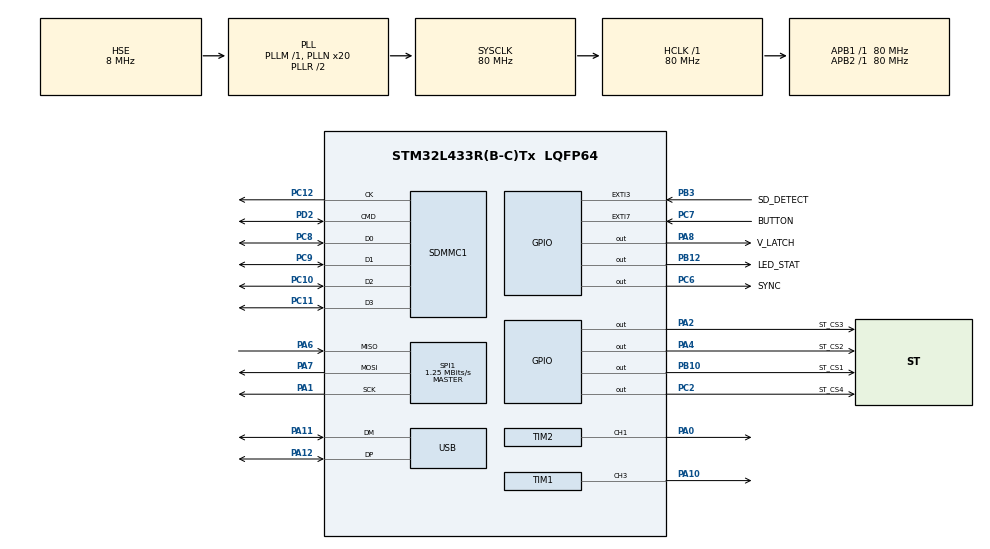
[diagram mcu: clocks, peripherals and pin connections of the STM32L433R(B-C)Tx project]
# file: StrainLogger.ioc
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ADC1.ClockPrescaler=ADC_CLOCK_ASYNC_DIV16
ADC1.ContinuousConvMode=DISABLE
ADC1.DMAContinuousRequests=DISABLE
ADC1.DataAlign=ADC_DATAALIGN_RIGHT
ADC1.DiscontinuousConvMode=DISABLE
ADC1.EOCSelection=ADC_EOC_SINGLE_CONV
ADC1.EnableInjectedConversion=DISABLE
ADC1.EnableRegularConversion=DISABLE
ADC1.LowPowerAutoWait=DISABLE
ADC1.Overrun=ADC_OVR_DATA_PRESERVED
ADC1.Resolution=ADC_RESOLUTION_12B
ADC1.ScanConvMode=ADC_SCAN_DISABLE
ADC1.master=1
FATFS._FS_NORTC=1
FATFS._MAX_SS=512
FATFS._NORTC_MDAY=1
FATFS._NORTC_MON=1
FATFS._NORTC_YEAR=2018
FATFS._USE_EXPAND=1
FATFS._USE_LFN=1
FATFS._USE_STRFUNC=1
Mcu.Family=STM32L4
Mcu.Name=STM32L433R(B-C)Tx
Mcu.Package=LQFP64
NVIC.EXTI3_IRQn=true\:9\:0\:true\:false\:true\:true
NVIC.EXTI9_5_IRQn=true\:9\:0\:true\:false\:true\:true
NVIC.PriorityGroup=NVIC_PRIORITYGROUP_4
NVIC.TIM1_CC_IRQn=true\:1\:0\:true\:false\:true\:true
NVIC.TIM6_DAC_IRQn=true\:4\:0\:true\:false\:true\:true
NVIC.USB_IRQn=true\:0\:0\:false\:false\:true\:false
PA0.Signal=S_TIM2_CH1
PA1.Mode=Full_Duplex_Master
PA1.Signal=SPI1_SCK
PA10.Signal=S_TIM1_CH3
PA11.Mode=Device
PA11.Signal=USB_DM
PA12.Mode=Device
PA12.Signal=USB_DP
PA13\ (JTMS-SWDIO).Mode=Serial_Wire
PA13\ (JTMS-SWDIO).Signal=SYS_JTMS-SWDIO
PA14\ (JTCK-SWCLK).Mode=Serial_Wire
PA14\ (JTCK-SWCLK).Signal=SYS_JTCK-SWCLK
PA2.GPIO_Label=ST_CS3
PA2.GPIO_Speed=GPIO_SPEED_FREQ_VERY_HIGH
PA2.PinState=GPIO_PIN_SET
PA2.Signal=GPIO_Output
PA4.GPIO_Label=ST_CS2
PA4.GPIO_Speed=GPIO_SPEED_FREQ_VERY_HIGH
PA4.PinState=GPIO_PIN_SET
PA4.Signal=GPIO_Output
PA6.Mode=Full_Duplex_Master
PA6.Signal=SPI1_MISO
PA7.Mode=Full_Duplex_Master
PA7.Signal=SPI1_MOSI
PA8.GPIO_Label=V_LATCH
PA8.PinState=GPIO_PIN_SET
PA8.Signal=GPIO_Output
PB10.GPIO_Label=ST_CS1
PB10.GPIO_Speed=GPIO_SPEED_FREQ_VERY_HIGH
PB10.PinState=GPIO_PIN_SET
PB10.Signal=GPIO_Output
PB12.GPIO_Label=LED_STAT
PB12.Signal=GPIO_Output
PB3\ (JTDO-TRACESWO).GPIO_Label=SD_DETECT
PB3\ (JTDO-TRACESWO).GPIO_ModeDefaultEXTI=GPIO_MODE_IT_RISING
PB3\ (JTDO-TRACESWO).GPIO_PuPd=GPIO_PULLUP
PB3\ (JTDO-TRACESWO).Signal=GPXTI3
PC10.GPIO_PuPd=GPIO_PULLUP
PC10.Mode=SD_4_bits_Wide_bus
PC10.Signal=SDMMC1_D2
PC11.GPIO_PuPd=GPIO_PULLUP
PC11.Mode=SD_4_bits_Wide_bus
PC11.Signal=SDMMC1_D3
PC12.GPIO_PuPd=GPIO_PULLUP
PC12.Mode=SD_4_bits_Wide_bus
PC12.Signal=SDMMC1_CK
PC14-OSC32_IN\ (PC14).Mode=LSE-External-Oscillator
PC14-OSC32_IN\ (PC14).Signal=RCC_OSC32_IN
PC15-OSC32_OUT\ (PC15).Mode=LSE-External-Oscillator
PC15-OSC32_OUT\ (PC15).Signal=RCC_OSC32_OUT
PC2.GPIO_Label=ST_CS4
PC2.GPIO_Speed=GPIO_SPEED_FREQ_VERY_HIGH
PC2.PinState=GPIO_PIN_SET
PC2.Signal=GPIO_Output
PC6.GPIO_Label=SYNC
PC6.GPIO_Speed=GPIO_SPEED_FREQ_VERY_HIGH
PC6.Signal=GPIO_Output
PC7.GPIO_Label=BUTTON
PC7.Signal=GPXTI7
PC8.GPIO_PuPd=GPIO_PULLUP
PC8.Mode=SD_4_bits_Wide_bus
PC8.Signal=SDMMC1_D0
PC9.GPIO_PuPd=GPIO_PULLUP
PC9.Mode=SD_4_bits_Wide_bus
PC9.Signal=SDMMC1_D1
PD2.GPIO_PuPd=GPIO_PULLUP
PD2.Mode=SD_4_bits_Wide_bus
PD2.Signal=SDMMC1_CMD
PH0-OSC_IN\ (PH0).Mode=HSE-External-Oscillator
PH0-OSC_IN\ (PH0).Signal=RCC_OSC_IN
PH1-OSC_OUT\ (PH1).Mode=HSE-External-Oscillator
PH1-OSC_OUT\ (PH1).Signal=RCC_OSC_OUT
ProjectManager.HeapSize=0x4000
ProjectManager.StackSize=0x1000
ProjectManager.TargetToolchain=Makefile
RCC.ADCFreq_Value=48000000
RCC.AHBFreq_Value=80000000
RCC.APB1Freq_Value=80000000
RCC.APB1TimFreq_Value=80000000
RCC.APB2Freq_Value=80000000
RCC.APB2TimFreq_Value=80000000
RCC.CortexFreq_Value=80000000
RCC.HCLKFreq_Value=80000000
RCC.HSE_VALUE=8000000
RCC.HSI48_VALUE=48000000
RCC.HSI_VALUE=16000000
RCC.MSIAutoCalibration=DISABLED
RCC.MSI_VALUE=4000000
RCC.PLLN=20
RCC.PLLSAI1N=12
RCC.PLLSourceVirtual=RCC_PLLSOURCE_HSE
RCC.RTCClockSelection=RCC_RTCCLKSOURCE_LSE
RCC.SYSCLKFreq_VALUE=80000000
RCC.SYSCLKSource=RCC_SYSCLKSOURCE_PLLCLK
RCC.USBFreq_Value=48000000
RCC.VCOOutputFreq_Value=160000000
SDMMC1.ClockDiv=48
SDMMC1.HardwareFlowControl=SDMMC_HARDWARE_FLOW_CONTROL_DISABLE
SH.S_TIM1_CH3.0=TIM1_CH3,Output Compare3 CH3
SH.S_TIM2_CH1.0=TIM2_CH1,Output Compare1 CH1
SPI1.BaudRatePrescaler=SPI_BAUDRATEPRESCALER_64
SPI1.CLKPhase=SPI_PHASE_2EDGE
SPI1.CalculateBaudRate=1.25 MBits/s
SPI1.DataSize=SPI_DATASIZE_8BIT
SPI1.Direction=SPI_DIRECTION_2LINES
SPI1.Mode=SPI_MODE_MASTER
SPI1.VirtualType=VM_MASTER
TIM1.Channel-Output\ Compare3\ CH3=TIM_CHANNEL_3
TIM1.OCMode_3=TIM_OCMODE_TOGGLE
TIM1.Period=1035
TIM1.Prescaler=8
TIM1.Pulse-Output\ Compare3\ CH3=518
TIM2.Channel-Output\ Compare1\ CH1=TIM_CHANNEL_1
TIM2.OCMode_1=TIM_OCMODE_TOGGLE
TIM2.Period=9
TIM2.Pulse-Output\ Compare1\ CH1=5
TIM2.TIM_MasterOutputTrigger=TIM_TRGO_UPDATE
TIM6.Period=4000
TIM6.Prescaler=40000
TIM6.TIM_MasterOutputTrigger=TIM_TRGO_RESET
USB_DEVICE.CLASS_NAME_FS=CDC
USB_DEVICE.USBD_LPM_ENABLED=0
USB_DEVICE.VirtualMode=Cdc
USB_DEVICE.VirtualModeFS=Cdc_FS
VP_ADC1_Vbat_Input.Mode=IN-Vbat
VP_FATFS_VS_SDIO.Mode=SDIO
VP_RTC_VS_RTC_Activate.Mode=RTC_Enabled
VP_TIM1_VS_ClockSourceITR.Mode=TriggerSource_ITR1
VP_TIM1_VS_ControllerModeClock.Mode=Clock Mode
VP_TIM2_VS_ClockSourceINT.Mode=Internal
VP_TIM6_VS_ClockSourceINT.Mode=Enable_Timer
VP_USB_DEVICE_VS_USB_DEVICE_CDC_FS.Mode=CDC_FS
board=custom

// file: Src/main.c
/**
  ******************************************************************************
  * @file           : main.c
  * @brief          : Main program body
  ******************************************************************************

  Includes ------------------------------------------------------------------*/
#include "main.h"
#include "stm32l4xx_hal.h"
#include "fatfs.h"
#include "usb_device.h"

/* USER CODE BEGIN Includes */
#include "usbd_cdc_if.h"

#define BUFF_SIZE 100

/* USER CODE END Includes */

ADC_HandleTypeDef hadc1;

RTC_HandleTypeDef hrtc;

SD_HandleTypeDef hsd1;

SPI_HandleTypeDef hspi1;

TIM_HandleTypeDef htim1;
TIM_HandleTypeDef htim2;
TIM_HandleTypeDef htim6;

/* USER CODE BEGIN PV */
/* Private variables ---------------------------------------------------------*/
volatile RecSessionStateEnum recSessionState;
volatile uint8_t adcDataReady;

/* USER CODE END PV */

void SystemClock_Config(void);
static void MX_GPIO_Init(void);
static void MX_ADC1_Init(void);
static void MX_SPI1_Init(void);
static void MX_TIM1_Init(void);
static void MX_TIM2_Init(void);
static void MX_TIM6_Init(void);
static void MX_SDMMC1_SD_Init(void);
static void MX_RTC_Init(void);

void HAL_TIM_MspPostInit(TIM_HandleTypeDef *htim);

/* USER CODE BEGIN PFP */
/* Private function prototypes -----------------------------------------------*/
void USR_InitExtADC(void);
void USR_ExtADC_Read(int32_t adcValue[4]);
/* USER CODE END PFP */

/* USER CODE BEGIN 0 */
void USR_LedBlink(int i){
    i *=2;
    while (i--) {
	    HAL_GPIO_TogglePin(LED_STAT_GPIO_Port, LED_STAT_Pin);
	    HAL_Delay(200);
	}
}

void USR_PowerOff(void){
	HAL_GPIO_WritePin(V_LATCH_GPIO_Port, V_LATCH_Pin, GPIO_PIN_RESET);
    HAL_Delay(3000);

    NVIC_SystemReset();
}

void USR_ADC1_Init(void)
{
    /**Configure Regular Channel
     */
    ADC_ChannelConfTypeDef sConfig;
    sConfig.Channel = ADC_CHANNEL_VBAT;
    sConfig.Rank = ADC_REGULAR_RANK_1;
    sConfig.SamplingTime = ADC_SAMPLETIME_640CYCLES_5;
    sConfig.SingleDiff = ADC_SINGLE_ENDED;
    sConfig.OffsetNumber = ADC_OFFSET_NONE;
    sConfig.Offset = 0;
    if (HAL_ADC_ConfigChannel(&hadc1, &sConfig) != HAL_OK) {
	_Error_Handler(__FILE__, __LINE__);
    }
}

void USR_CheckSD(void)
{

    if (HAL_GPIO_ReadPin(SD_DETECT_GPIO_Port, SD_DETECT_Pin) == GPIO_PIN_SET){
        USR_LedBlink(4);
        USR_PowerOff();
    }
    else HAL_NVIC_EnableIRQ(SD_DETECT_EXTI_IRQn);
}

BattStatusEnum USR_getBatteryLevel(void)
{
    HAL_ADC_Start(&hadc1);
    HAL_StatusTypeDef hstatus;

    do {
	hstatus = HAL_ADC_PollForConversion(&hadc1, 10);
	if (hstatus == HAL_TIMEOUT)
	    _Error_Handler(__FILE__, __LINE__);
    } while (hstatus != HAL_OK);

    int adc_value = HAL_ADC_GetValue(&hadc1);
    if (adc_value > 1613)
	return FULL; // 4.0V level
    if (adc_value < 1411)
	return CRITICAL; // 3.5V level
    return LOW;
}

void HAL_TIM_PeriodElapsedCallback(TIM_HandleTypeDef *timHandle)
{
    if (timHandle == &htim6) {
	if (USR_getBatteryLevel() == CRITICAL) {
	    recSessionState = POWER_DOWN;
	}
    }
}
void HAL_TIM_OC_DelayElapsedCallback(TIM_HandleTypeDef *timHandle)
{
    if (timHandle == &htim1) {
        if (recSessionState == ACTIVE_SESSION){
            adcDataReady = 1;
            }
    }
}

void HAL_GPIO_EXTI_Callback(uint16_t GPIO_Pin){
    if (GPIO_Pin == SD_DETECT_Pin){
        HAL_NVIC_DisableIRQ(SD_DETECT_EXTI_IRQn);
        USR_CheckSD();
    }

    if (GPIO_Pin == BUTTON_Pin){
        if (recSessionState == ACTIVE_SESSION) {
            recSessionState = NEW_SESSION;
            HAL_NVIC_DisableIRQ(EXTI9_5_IRQn);
        }
    }
}
void USR_InitExtADC(void){

    uint8_t pTxDat[5];
    uint8_t pRxDat[5];
    uint16_t ST_CS_PINS[] = {ST_CS1_Pin, ST_CS2_Pin, ST_CS3_Pin, ST_CS4_Pin};
    GPIO_TypeDef* ST_CS_GPIO_PORTS[] = {ST_CS1_GPIO_Port,ST_CS2_GPIO_Port,ST_CS3_GPIO_Port,ST_CS4_GPIO_Port};

    for (int i = 0; i < 4; i++){

        memset(pTxDat, 0, sizeof(pTxDat));
        memset(pRxDat, 0, sizeof(pTxDat));
        //Reset ADC
        pTxDat[0] = 0b00000110;
        HAL_GPIO_WritePin(ST_CS_GPIO_PORTS[i], ST_CS_PINS[i], GPIO_PIN_RESET);
        HAL_Delay(1);
        HAL_SPI_TransmitReceive(&hspi1, pTxDat, pRxDat, 1, HAL_MAX_DELAY);
        HAL_Delay(1);
        HAL_GPIO_WritePin(ST_CS_GPIO_PORTS[i], ST_CS_PINS[i], GPIO_PIN_SET);
        HAL_Delay(2);

        //Configure ADC
        pTxDat[0] = 0b01000011;
        // AINP = AIN1, AINN = AIN2, gain = 64, PGA enabled
        pTxDat[1] = 0x5C;
        // DR = 20 SPS, normal mode, continuous conversion mode
        pTxDat[2] = 0xC4;
        // AVDD Reference, simultaneous 50-Hz and 60-Hz
        pTxDat[3] = 0xC0;
        // No IDACs used
        pTxDat[4] = 0x00;
        HAL_GPIO_WritePin(ST_CS_GPIO_PORTS[i], ST_CS_PINS[i], GPIO_PIN_RESET);
        HAL_Delay(1);
        HAL_SPI_TransmitReceive(&hspi1, pTxDat, pRxDat, 5, HAL_MAX_DELAY);
        HAL_Delay(1);
        HAL_GPIO_WritePin(ST_CS_GPIO_PORTS[i], ST_CS_PINS[i], GPIO_PIN_SET);
        HAL_Delay(2);

        //Check ADC Registers
        memset(pTxDat, 0, sizeof(pTxDat));
        memset(pRxDat, 0, sizeof(pRxDat));
        pTxDat[0] = 0b00100011;
        HAL_GPIO_WritePin(ST_CS_GPIO_PORTS[i], ST_CS_PINS[i], GPIO_PIN_RESET);
        HAL_Delay(1);
        HAL_SPI_TransmitReceive(&hspi1, pTxDat, pRxDat, 5, HAL_MAX_DELAY);
        HAL_Delay(1);
        HAL_GPIO_WritePin(ST_CS_GPIO_PORTS[i], ST_CS_PINS[i], GPIO_PIN_SET);
        if (pRxDat[1] != 0x5c) {
            USR_LedBlink(6);
            _Error_Handler(__FILE__, __LINE__);
        }

        //Start ADC
        memset(pTxDat, 0, sizeof(pTxDat));
        memset(pRxDat, 0, sizeof(pRxDat));
        pTxDat[0] = 0b00001000;
        HAL_GPIO_WritePin(ST_CS_GPIO_PORTS[i], ST_CS_PINS[i], GPIO_PIN_RESET);
        HAL_Delay(1);
        HAL_SPI_TransmitReceive(&hspi1, pTxDat, pRxDat, 1, HAL_MAX_DELAY);
        HAL_Delay(1);
        HAL_GPIO_WritePin(ST_CS_GPIO_PORTS[i], ST_CS_PINS[i], GPIO_PIN_SET);
        HAL_Delay(1);

    }
    //Reset TIMER Counter
    __HAL_TIM_SetCounter(&htim1, 0);

}

void USR_ExtADC_Read(int32_t adcValue[4]){
    uint8_t pRxDat[4];
    uint8_t pTxDat[] = {0x10,0,0,0};
    uint16_t ST_CS_PINS[] = {ST_CS1_Pin, ST_CS2_Pin, ST_CS3_Pin, ST_CS4_Pin};
    GPIO_TypeDef* ST_CS_GPIO_PORTS[] = {ST_CS1_GPIO_Port,ST_CS2_GPIO_Port,ST_CS3_GPIO_Port,ST_CS4_GPIO_Port};

    for (int i = 0; i < 4; i++){

        memset(pRxDat, 0, sizeof(pRxDat));
        //Read ADC
        HAL_GPIO_WritePin(ST_CS_GPIO_PORTS[i], ST_CS_PINS[i], GPIO_PIN_RESET);
        HAL_SPI_TransmitReceive(&hspi1, pTxDat, pRxDat, 4, HAL_MAX_DELAY);
        HAL_GPIO_WritePin(ST_CS_GPIO_PORTS[i], ST_CS_PINS[i], GPIO_PIN_SET);
        adcValue[i] = (((uint32_t)pRxDat[1]) << 16) | (((uint32_t) pRxDat[2]) << 8) | pRxDat[3];
        if (adcValue[i]>>23){
            adcValue[i] = (~adcValue[i]) & 0x007FFFFF;
            adcValue[i]++;
            adcValue[i] *= -1;
        }
    }

}
uint8_t USR_Button_Status(void){
        uint8_t count = 0;
        for (int i = 0; i < 100; i++){
           if(HAL_GPIO_ReadPin(BUTTON_GPIO_Port,BUTTON_Pin)==GPIO_PIN_SET) count++;
           HAL_Delay(2);
        }
        if (count > 15) return 1;
        else return 0;
}

/* USER CODE END 0 */

int main(void)
{

  /* MCU Configuration----------------------------------------------------------*/

  /* Reset of all peripherals, Initializes the Flash interface and the Systick. */
  HAL_Init();

  /* Configure the system clock */
  SystemClock_Config();

  /* Initialize all configured peripherals */
  MX_GPIO_Init();
  MX_ADC1_Init();
  MX_SPI1_Init();
  MX_TIM1_Init();
  MX_TIM2_Init();
  MX_TIM6_Init();
  MX_USB_DEVICE_Init();
  MX_SDMMC1_SD_Init();
  MX_RTC_Init();
  MX_FATFS_Init();
  /* USER CODE BEGIN 2 */

    /* HAL_NVIC_SetPriority(TIM1_CC_IRQn, 2, 0); // Set timer1 priority */
    USR_ADC1_Init();
    HAL_TIM_OC_Start_IT(&htim1, TIM_CHANNEL_3);
    HAL_TIM_OC_Start(&htim2, TIM_CHANNEL_1);
    /* HAL_TIM_Base_Start_IT(&htim6); */
    hrtc_ptr = &hrtc; // allow usbd_cdc_if access to rtc

    HAL_GPIO_WritePin(LED_STAT_GPIO_Port, LED_STAT_Pin, GPIO_PIN_RESET);

    if (USR_getBatteryLevel() == CRITICAL) {
        USR_LedBlink(3);
        USR_PowerOff();
    }
    USR_CheckSD();
    USR_InitExtADC();
    recSessionState = NEW_SESSION;

  /* USER CODE END 2 */

  /* Infinite loop */
  /* USER CODE BEGIN WHILE */

    while (recSessionState == NEW_SESSION){
        char adcstr[100];
        int32_t adcValues[4];

        HAL_Delay(100);
        __HAL_GPIO_EXTI_CLEAR_IT(EXTI9_5_IRQn);
        HAL_NVIC_EnableIRQ(EXTI9_5_IRQn);
        RTC_TimeTypeDef rtcTime;
        RTC_DateTypeDef rtcDate;

        HAL_RTC_GetTime(&hrtc, &rtcTime, RTC_FORMAT_BIN);
        HAL_RTC_GetDate(&hrtc, &rtcDate, RTC_FORMAT_BIN);

        sprintf(adcstr, "STRAIN-LOG_%02d-%02d_%02d;%02d;%02d.TXT",rtcDate.Month, rtcDate.Date, rtcTime.Hours,rtcTime.Minutes,rtcTime.Seconds);
        if (f_open(&SDFile, adcstr, FA_CREATE_ALWAYS | FA_WRITE) != FR_OK){
            USR_CheckSD();
            _Error_Handler(__FILE__, __LINE__);
        }
        f_sync(&SDFile);

        volatile int badsamples = 0;

        recSessionState = ACTIVE_SESSION;

        FRESULT fatfsResult;
//Simple loop
        HAL_GPIO_WritePin(LED_STAT_GPIO_Port, LED_STAT_Pin, GPIO_PIN_SET);
        while (recSessionState == ACTIVE_SESSION){
                if (adcDataReady == 1){
                    adcDataReady = 0;
                    HAL_GPIO_WritePin(SYNC_GPIO_Port, SYNC_Pin, GPIO_PIN_SET);
                    USR_ExtADC_Read(adcValues);
                    sprintf(adcstr, "%ld,%ld,%ld,%ld\n",\
                            (long) adcValues[0],\
                            (long) adcValues[1],\
                            (long) adcValues[2],\
                            (long) adcValues[3]);
                    CDC_Transmit_FS((uint8_t*)adcstr, strlen(adcstr));
                    HAL_GPIO_TogglePin(LED_STAT_GPIO_Port, LED_STAT_Pin);
                    fatfsResult = f_puts(adcstr, &SDFile);
                    if (fatfsResult == -1){
                        badsamples++;
                        USR_LedBlink(100);
                        Error_Handler();
                    }
                    HAL_GPIO_WritePin(SYNC_GPIO_Port, SYNC_Pin, GPIO_PIN_RESET);
                }
            }

        /* } */
        HAL_GPIO_WritePin(LED_STAT_GPIO_Port, LED_STAT_Pin, GPIO_PIN_RESET);
        f_sync(&SDFile);
        HAL_Delay(100);
        f_close(&SDFile);
        HAL_Delay(100);
        f_sync(&SDFile);
        HAL_Delay(1000);

        if (USR_Button_Status() == 1){
            recSessionState = POWER_DOWN;
        }

  /* USER CODE END WHILE */

  /* USER CODE BEGIN 3 */
    }

    HAL_Delay(500);
    FATFS_UnLinkDriver(SDPath);
    USR_LedBlink(5);
    /* USR_PowerOff(); */
	HAL_GPIO_WritePin(V_LATCH_GPIO_Port, V_LATCH_Pin, GPIO_PIN_RESET);
    uint8_t cdcstr[] = "To set time, use the format Tyyyymmddhhmmss\n";
    CDC_Transmit_FS(cdcstr, strlen((char*)cdcstr));
    while(1) {
        USR_LedBlink(1);
    }
  /* USER CODE END 3 */

}

void SystemClock_Config(void)
{

  RCC_OscInitTypeDef RCC_OscInitStruct;
  RCC_ClkInitTypeDef RCC_ClkInitStruct;
  RCC_PeriphCLKInitTypeDef PeriphClkInit;

    /**Configure LSE Drive Capability
    */
  HAL_PWR_EnableBkUpAccess();

  __HAL_RCC_LSEDRIVE_CONFIG(RCC_LSEDRIVE_LOW);

    /**Initializes the CPU, AHB and APB busses clocks
    */
  RCC_OscInitStruct.OscillatorType = RCC_OSCILLATORTYPE_HSE|RCC_OSCILLATORTYPE_LSE;
  RCC_OscInitStruct.HSEState = RCC_HSE_ON;
  RCC_OscInitStruct.LSEState = RCC_LSE_ON;
  RCC_OscInitStruct.PLL.PLLState = RCC_PLL_ON;
  RCC_OscInitStruct.PLL.PLLSource = RCC_PLLSOURCE_HSE;
  RCC_OscInitStruct.PLL.PLLM = 1;
  RCC_OscInitStruct.PLL.PLLN = 20;
  RCC_OscInitStruct.PLL.PLLP = RCC_PLLP_DIV7;
  RCC_OscInitStruct.PLL.PLLQ = RCC_PLLQ_DIV2;
  RCC_OscInitStruct.PLL.PLLR = RCC_PLLR_DIV2;
  if (HAL_RCC_OscConfig(&RCC_OscInitStruct) != HAL_OK)
  {
    _Error_Handler(__FILE__, __LINE__);
  }

    /**Initializes the CPU, AHB and APB busses clocks
    */
  RCC_ClkInitStruct.ClockType = RCC_CLOCKTYPE_HCLK|RCC_CLOCKTYPE_SYSCLK
                              |RCC_CLOCKTYPE_PCLK1|RCC_CLOCKTYPE_PCLK2;
  RCC_ClkInitStruct.SYSCLKSource = RCC_SYSCLKSOURCE_PLLCLK;
  RCC_ClkInitStruct.AHBCLKDivider = RCC_SYSCLK_DIV1;
  RCC_ClkInitStruct.APB1CLKDivider = RCC_HCLK_DIV1;
  RCC_ClkInitStruct.APB2CLKDivider = RCC_HCLK_DIV1;

  if (HAL_RCC_ClockConfig(&RCC_ClkInitStruct, FLASH_LATENCY_4) != HAL_OK)
  {
    _Error_Handler(__FILE__, __LINE__);
  }

  PeriphClkInit.PeriphClockSelection = RCC_PERIPHCLK_RTC|RCC_PERIPHCLK_USB
                              |RCC_PERIPHCLK_SDMMC1|RCC_PERIPHCLK_ADC;
  PeriphClkInit.AdcClockSelection = RCC_ADCCLKSOURCE_PLLSAI1;
  PeriphClkInit.RTCClockSelection = RCC_RTCCLKSOURCE_LSE;
  PeriphClkInit.UsbClockSelection = RCC_USBCLKSOURCE_PLLSAI1;
  PeriphClkInit.Sdmmc1ClockSelection = RCC_SDMMC1CLKSOURCE_PLLSAI1;
  PeriphClkInit.PLLSAI1.PLLSAI1Source = RCC_PLLSOURCE_HSE;
  PeriphClkInit.PLLSAI1.PLLSAI1M = 1;
  PeriphClkInit.PLLSAI1.PLLSAI1N = 12;
  PeriphClkInit.PLLSAI1.PLLSAI1P = RCC_PLLP_DIV7;
  PeriphClkInit.PLLSAI1.PLLSAI1Q = RCC_PLLQ_DIV2;
  PeriphClkInit.PLLSAI1.PLLSAI1R = RCC_PLLR_DIV2;
  PeriphClkInit.PLLSAI1.PLLSAI1ClockOut = RCC_PLLSAI1_48M2CLK|RCC_PLLSAI1_ADC1CLK;
  if (HAL_RCCEx_PeriphCLKConfig(&PeriphClkInit) != HAL_OK)
  {
    _Error_Handler(__FILE__, __LINE__);
  }

    /**Configure the main internal regulator output voltage
    */
  if (HAL_PWREx_ControlVoltageScaling(PWR_REGULATOR_VOLTAGE_SCALE1) != HAL_OK)
  {
    _Error_Handler(__FILE__, __LINE__);
  }

    /**Configure the Systick interrupt time
    */
  HAL_SYSTICK_Config(HAL_RCC_GetHCLKFreq()/1000);

    /**Configure the Systick
    */
  HAL_SYSTICK_CLKSourceConfig(SYSTICK_CLKSOURCE_HCLK);

  /* SysTick_IRQn interrupt configuration */
  HAL_NVIC_SetPriority(SysTick_IRQn, 0, 0);
}

/* ADC1 init function */
static void MX_ADC1_Init(void)
{

    /**Common config
    */
  hadc1.Instance = ADC1;
  hadc1.Init.ClockPrescaler = ADC_CLOCK_ASYNC_DIV16;
  hadc1.Init.Resolution = ADC_RESOLUTION_12B;
  hadc1.Init.DataAlign = ADC_DATAALIGN_RIGHT;
  hadc1.Init.ScanConvMode = ADC_SCAN_DISABLE;
  hadc1.Init.EOCSelection = ADC_EOC_SINGLE_CONV;
  hadc1.Init.LowPowerAutoWait = DISABLE;
  hadc1.Init.ContinuousConvMode = DISABLE;
  hadc1.Init.NbrOfConversion = 1;
  hadc1.Init.DiscontinuousConvMode = DISABLE;
  hadc1.Init.DMAContinuousRequests = DISABLE;
  hadc1.Init.Overrun = ADC_OVR_DATA_PRESERVED;
  hadc1.Init.OversamplingMode = DISABLE;
  if (HAL_ADC_Init(&hadc1) != HAL_OK)
  {
    _Error_Handler(__FILE__, __LINE__);
  }

}

/* RTC init function */
static void MX_RTC_Init(void)
{

    /**Initialize RTC Only
    */
  hrtc.Instance = RTC;
  hrtc.Init.HourFormat = RTC_HOURFORMAT_24;
  hrtc.Init.AsynchPrediv = 127;
  hrtc.Init.SynchPrediv = 255;
  hrtc.Init.OutPut = RTC_OUTPUT_DISABLE;
  hrtc.Init.OutPutRemap = RTC_OUTPUT_REMAP_NONE;
  hrtc.Init.OutPutPolarity = RTC_OUTPUT_POLARITY_HIGH;
  hrtc.Init.OutPutType = RTC_OUTPUT_TYPE_OPENDRAIN;
  if (HAL_RTC_Init(&hrtc) != HAL_OK)
  {
    _Error_Handler(__FILE__, __LINE__);
  }

}

/* SDMMC1 init function */
static void MX_SDMMC1_SD_Init(void)
{

  hsd1.Instance = SDMMC1;
  hsd1.Init.ClockEdge = SDMMC_CLOCK_EDGE_RISING;
  hsd1.Init.ClockBypass = SDMMC_CLOCK_BYPASS_DISABLE;
  hsd1.Init.ClockPowerSave = SDMMC_CLOCK_POWER_SAVE_DISABLE;
  hsd1.Init.BusWide = SDMMC_BUS_WIDE_1B;
  hsd1.Init.HardwareFlowControl = SDMMC_HARDWARE_FLOW_CONTROL_DISABLE;
  hsd1.Init.ClockDiv = 48;

}

/* SPI1 init function */
static void MX_SPI1_Init(void)
{

  /* SPI1 parameter configuration*/
  hspi1.Instance = SPI1;
  hspi1.Init.Mode = SPI_MODE_MASTER;
  hspi1.Init.Direction = SPI_DIRECTION_2LINES;
  hspi1.Init.DataSize = SPI_DATASIZE_8BIT;
  hspi1.Init.CLKPolarity = SPI_POLARITY_LOW;
  hspi1.Init.CLKPhase = SPI_PHASE_2EDGE;
  hspi1.Init.NSS = SPI_NSS_SOFT;
  hspi1.Init.BaudRatePrescaler = SPI_BAUDRATEPRESCALER_32;
  hspi1.Init.FirstBit = SPI_FIRSTBIT_MSB;
  hspi1.Init.TIMode = SPI_TIMODE_DISABLE;
  hspi1.Init.CRCCalculation = SPI_CRCCALCULATION_DISABLE;
  hspi1.Init.CRCPolynomial = 7;
  hspi1.Init.CRCLength = SPI_CRC_LENGTH_DATASIZE;
  hspi1.Init.NSSPMode = SPI_NSS_PULSE_DISABLE;
  if (HAL_SPI_Init(&hspi1) != HAL_OK)
  {
    _Error_Handler(__FILE__, __LINE__);
  }

}

/* TIM1 init function */
static void MX_TIM1_Init(void)
{

  TIM_SlaveConfigTypeDef sSlaveConfig;
  TIM_MasterConfigTypeDef sMasterConfig;
  TIM_OC_InitTypeDef sConfigOC;
  TIM_BreakDeadTimeConfigTypeDef sBreakDeadTimeConfig;

  htim1.Instance = TIM1;
  htim1.Init.Prescaler = 8;
  htim1.Init.CounterMode = TIM_COUNTERMODE_UP;
  htim1.Init.Period = 1035;
  htim1.Init.ClockDivision = TIM_CLOCKDIVISION_DIV1;
  htim1.Init.RepetitionCounter = 0;
  htim1.Init.AutoReloadPreload = TIM_AUTORELOAD_PRELOAD_DISABLE;
  if (HAL_TIM_Base_Init(&htim1) != HAL_OK)
  {
    _Error_Handler(__FILE__, __LINE__);
  }

  if (HAL_TIM_OC_Init(&htim1) != HAL_OK)
  {
    _Error_Handler(__FILE__, __LINE__);
  }

  sSlaveConfig.SlaveMode = TIM_SLAVEMODE_EXTERNAL1;
  sSlaveConfig.InputTrigger = TIM_TS_ITR1;
  if (HAL_TIM_SlaveConfigSynchronization(&htim1, &sSlaveConfig) != HAL_OK)
  {
    _Error_Handler(__FILE__, __LINE__);
  }

  sMasterConfig.MasterOutputTrigger = TIM_TRGO_RESET;
  sMasterConfig.MasterOutputTrigger2 = TIM_TRGO2_RESET;
  sMasterConfig.MasterSlaveMode = TIM_MASTERSLAVEMODE_DISABLE;
  if (HAL_TIMEx_MasterConfigSynchronization(&htim1, &sMasterConfig) != HAL_OK)
  {
    _Error_Handler(__FILE__, __LINE__);
  }

  sConfigOC.OCMode = TIM_OCMODE_TOGGLE;
  sConfigOC.Pulse = 518;
  sConfigOC.OCPolarity = TIM_OCPOLARITY_HIGH;
  sConfigOC.OCNPolarity = TIM_OCNPOLARITY_HIGH;
  sConfigOC.OCFastMode = TIM_OCFAST_DISABLE;
  sConfigOC.OCIdleState = TIM_OCIDLESTATE_RESET;
  sConfigOC.OCNIdleState = TIM_OCNIDLESTATE_RESET;
  if (HAL_TIM_OC_ConfigChannel(&htim1, &sConfigOC, TIM_CHANNEL_3) != HAL_OK)
  {
    _Error_Handler(__FILE__, __LINE__);
  }

  sBreakDeadTimeConfig.OffStateRunMode = TIM_OSSR_DISABLE;
  sBreakDeadTimeConfig.OffStateIDLEMode = TIM_OSSI_DISABLE;
  sBreakDeadTimeConfig.LockLevel = TIM_LOCKLEVEL_OFF;
  sBreakDeadTimeConfig.DeadTime = 0;
  sBreakDeadTimeConfig.BreakState = TIM_BREAK_DISABLE;
  sBreakDeadTimeConfig.BreakPolarity = TIM_BREAKPOLARITY_HIGH;
  sBreakDeadTimeConfig.BreakFilter = 0;
  sBreakDeadTimeConfig.Break2State = TIM_BREAK2_DISABLE;
  sBreakDeadTimeConfig.Break2Polarity = TIM_BREAK2POLARITY_HIGH;
  sBreakDeadTimeConfig.Break2Filter = 0;
  sBreakDeadTimeConfig.AutomaticOutput = TIM_AUTOMATICOUTPUT_DISABLE;
  if (HAL_TIMEx_ConfigBreakDeadTime(&htim1, &sBreakDeadTimeConfig) != HAL_OK)
  {
    _Error_Handler(__FILE__, __LINE__);
  }

  HAL_TIM_MspPostInit(&htim1);

}

/* TIM2 init function */
static void MX_TIM2_Init(void)
{

  TIM_ClockConfigTypeDef sClockSourceConfig;
  TIM_MasterConfigTypeDef sMasterConfig;
  TIM_OC_InitTypeDef sConfigOC;

  htim2.Instance = TIM2;
  htim2.Init.Prescaler = 0;
  htim2.Init.CounterMode = TIM_COUNTERMODE_UP;
  htim2.Init.Period = 9;
  htim2.Init.ClockDivision = TIM_CLOCKDIVISION_DIV1;
  htim2.Init.AutoReloadPreload = TIM_AUTORELOAD_PRELOAD_DISABLE;
  if (HAL_TIM_Base_Init(&htim2) != HAL_OK)
  {
    _Error_Handler(__FILE__, __LINE__);
  }

  sClockSourceConfig.ClockSource = TIM_CLOCKSOURCE_INTERNAL;
  if (HAL_TIM_ConfigClockSource(&htim2, &sClockSourceConfig) != HAL_OK)
  {
    _Error_Handler(__FILE__, __LINE__);
  }

  if (HAL_TIM_OC_Init(&htim2) != HAL_OK)
  {
    _Error_Handler(__FILE__, __LINE__);
  }

  sMasterConfig.MasterOutputTrigger = TIM_TRGO_UPDATE;
  sMasterConfig.MasterSlaveMode = TIM_MASTERSLAVEMODE_DISABLE;
  if (HAL_TIMEx_MasterConfigSynchronization(&htim2, &sMasterConfig) != HAL_OK)
  {
    _Error_Handler(__FILE__, __LINE__);
  }

  sConfigOC.OCMode = TIM_OCMODE_TOGGLE;
  sConfigOC.Pulse = 5;
  sConfigOC.OCPolarity = TIM_OCPOLARITY_HIGH;
  sConfigOC.OCFastMode = TIM_OCFAST_DISABLE;
  if (HAL_TIM_OC_ConfigChannel(&htim2, &sConfigOC, TIM_CHANNEL_1) != HAL_OK)
  {
    _Error_Handler(__FILE__, __LINE__);
  }

  HAL_TIM_MspPostInit(&htim2);

}

/* TIM6 init function */
static void MX_TIM6_Init(void)
{

  TIM_MasterConfigTypeDef sMasterConfig;

  htim6.Instance = TIM6;
  htim6.Init.Prescaler = 40000;
  htim6.Init.CounterMode = TIM_COUNTERMODE_UP;
  htim6.Init.Period = 4000;
  htim6.Init.AutoReloadPreload = TIM_AUTORELOAD_PRELOAD_DISABLE;
  if (HAL_TIM_Base_Init(&htim6) != HAL_OK)
  {
    _Error_Handler(__FILE__, __LINE__);
  }

  sMasterConfig.MasterOutputTrigger = TIM_TRGO_RESET;
  sMasterConfig.MasterSlaveMode = TIM_MASTERSLAVEMODE_DISABLE;
  if (HAL_TIMEx_MasterConfigSynchronization(&htim6, &sMasterConfig) != HAL_OK)
  {
    _Error_Handler(__FILE__, __LINE__);
  }

}

/** Configure pins as
        * Analog
        * Input
        * Output
        * EVENT_OUT
        * EXTI
*/
static void MX_GPIO_Init(void)
{

  GPIO_InitTypeDef GPIO_InitStruct;

  /* GPIO Ports Clock Enable */
  __HAL_RCC_GPIOC_CLK_ENABLE();
  __HAL_RCC_GPIOH_CLK_ENABLE();
  __HAL_RCC_GPIOA_CLK_ENABLE();
  __HAL_RCC_GPIOB_CLK_ENABLE();
  __HAL_RCC_GPIOD_CLK_ENABLE();

  /*Configure GPIO pin Output Level */
  HAL_GPIO_WritePin(ST_CS4_GPIO_Port, ST_CS4_Pin, GPIO_PIN_SET);

  /*Configure GPIO pin Output Level */
  HAL_GPIO_WritePin(GPIOA, ST_CS3_Pin|ST_CS2_Pin|V_LATCH_Pin, GPIO_PIN_SET);

  /*Configure GPIO pin Output Level */
  HAL_GPIO_WritePin(ST_CS1_GPIO_Port, ST_CS1_Pin, GPIO_PIN_SET);

  /*Configure GPIO pin Output Level */
  HAL_GPIO_WritePin(LED_STAT_GPIO_Port, LED_STAT_Pin, GPIO_PIN_RESET);

  /*Configure GPIO pin Output Level */
  HAL_GPIO_WritePin(SYNC_GPIO_Port, SYNC_Pin, GPIO_PIN_RESET);

  /*Configure GPIO pins : ST_CS4_Pin SYNC_Pin */
  GPIO_InitStruct.Pin = ST_CS4_Pin|SYNC_Pin;
  GPIO_InitStruct.Mode = GPIO_MODE_OUTPUT_PP;
  GPIO_InitStruct.Pull = GPIO_NOPULL;
  GPIO_InitStruct.Speed = GPIO_SPEED_FREQ_VERY_HIGH;
  HAL_GPIO_Init(GPIOC, &GPIO_InitStruct);

  /*Configure GPIO pins : ST_CS3_Pin ST_CS2_Pin */
  GPIO_InitStruct.Pin = ST_CS3_Pin|ST_CS2_Pin;
  GPIO_InitStruct.Mode = GPIO_MODE_OUTPUT_PP;
  GPIO_InitStruct.Pull = GPIO_NOPULL;
  GPIO_InitStruct.Speed = GPIO_SPEED_FREQ_VERY_HIGH;
  HAL_GPIO_Init(GPIOA, &GPIO_InitStruct);

  /*Configure GPIO pin : ST_CS1_Pin */
  GPIO_InitStruct.Pin = ST_CS1_Pin;
  GPIO_InitStruct.Mode = GPIO_MODE_OUTPUT_PP;
  GPIO_InitStruct.Pull = GPIO_NOPULL;
  GPIO_InitStruct.Speed = GPIO_SPEED_FREQ_VERY_HIGH;
  HAL_GPIO_Init(ST_CS1_GPIO_Port, &GPIO_InitStruct);

  /*Configure GPIO pin : LED_STAT_Pin */
  GPIO_InitStruct.Pin = LED_STAT_Pin;
  GPIO_InitStruct.Mode = GPIO_MODE_OUTPUT_PP;
  GPIO_InitStruct.Pull = GPIO_NOPULL;
  GPIO_InitStruct.Speed = GPIO_SPEED_FREQ_LOW;
  HAL_GPIO_Init(LED_STAT_GPIO_Port, &GPIO_InitStruct);

  /*Configure GPIO pin : BUTTON_Pin */
  GPIO_InitStruct.Pin = BUTTON_Pin;
  GPIO_InitStruct.Mode = GPIO_MODE_IT_RISING;
  GPIO_InitStruct.Pull = GPIO_NOPULL;
  HAL_GPIO_Init(BUTTON_GPIO_Port, &GPIO_InitStruct);

  /*Configure GPIO pin : V_LATCH_Pin */
  GPIO_InitStruct.Pin = V_LATCH_Pin;
  GPIO_InitStruct.Mode = GPIO_MODE_OUTPUT_PP;
  GPIO_InitStruct.Pull = GPIO_NOPULL;
  GPIO_InitStruct.Speed = GPIO_SPEED_FREQ_LOW;
  HAL_GPIO_Init(V_LATCH_GPIO_Port, &GPIO_InitStruct);

  /*Configure GPIO pin : SD_DETECT_Pin */
  GPIO_InitStruct.Pin = SD_DETECT_Pin;
  GPIO_InitStruct.Mode = GPIO_MODE_IT_RISING;
  GPIO_InitStruct.Pull = GPIO_PULLUP;
  HAL_GPIO_Init(SD_DETECT_GPIO_Port, &GPIO_InitStruct);

  /* EXTI interrupt init*/
  HAL_NVIC_SetPriority(EXTI3_IRQn, 9, 0);
  HAL_NVIC_EnableIRQ(EXTI3_IRQn);

  HAL_NVIC_SetPriority(EXTI9_5_IRQn, 9, 0);
  HAL_NVIC_EnableIRQ(EXTI9_5_IRQn);

}

void _Error_Handler(char *file, int line)
{
  /* USER CODE BEGIN Error_Handler_Debug */
    /* User can add his own implementation to report the HAL error return state
     */
  char error[50];
  sprintf(error, "\nError in file: %s:%d\n", file, line);
  CDC_Transmit_FS((uint8_t *) error, strlen(error));
  HAL_Delay(1000);
  USR_PowerOff();
  while(1);
  /* USER CODE END Error_Handler_Debug */
}

#ifdef  USE_FULL_ASSERT
/**
  * @brief  Reports the name of the source file and the source line number
  *         where the assert_param error has occurred.
  * @param  file: pointer to the source file name
  * @param  line: assert_param error line source number
  * @retval None
  */
void assert_failed(uint8_t* file, uint32_t line)
{
  /* USER CODE BEGIN 6 */
    /* User can add his own implementation to report the file name and line
       number, tex: printf("Wrong parameters value: file %s on line %d\r\n",
       file, line) */
  /* USER CODE END 6 */
}
#endif /* USE_FULL_ASSERT */

/************************ (C) COPYRIGHT STMicroelectronics *****END OF FILE****/
